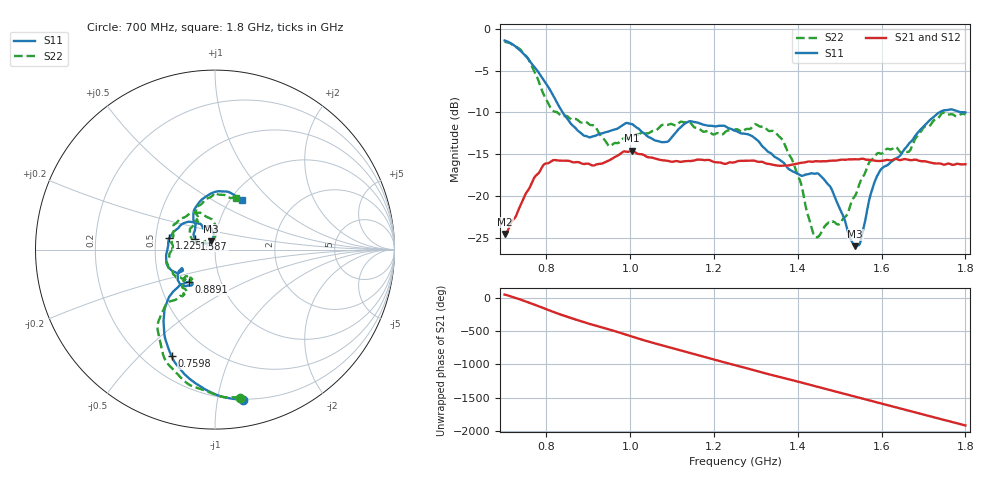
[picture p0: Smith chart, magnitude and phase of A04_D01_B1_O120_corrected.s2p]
! Created with skrf 1.9.0 (http://scikit-rf.org).
# Hz S RI R 50.0
!freq ReS11 ImS11 ReS21 ImS21 ReS12 ImS12 ReS22 ImS22
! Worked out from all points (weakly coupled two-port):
!   1601 points, 700 MHz to 1.8 GHz, reference 50 ohm
!   highest |S21| = -14.57 dB at 1.004 GHz (marker M1); lowest = -24.5 dB at 701.4 MHz (marker M2)
!   lowest |S11| = -26.0 dB at 1.537 GHz (marker M3), VSWR 1.11, Z = 47.7 + j4.39 ohm
!   |S11| at or under -10 dB: 838.6 MHz to 1.737 GHz (898.6 MHz wide, 69.8 % of centre)
!   |S22| runs from -24.9 to -1.6 dB; largest |S21 - S12| = 0.0037
!   S11 on the Smith chart (normalised r, x): 700 MHz: 0.20, -1.19; 759.8 MHz: 0.31, -0.63; 889.1 MHz: 0.71, -0.27; 1.225 GHz: 0.59, +0.08; 1.587 GHz: 0.79, +0.10; 1.8 GHz: 1.12, +0.70
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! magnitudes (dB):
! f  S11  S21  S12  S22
! 700 MHz  -1.4  -24.5  -24.3  -1.6
! 701.4 MHz  -1.4  -24.5  -24.1  -1.6
! 759.8 MHz  -3.8  -19.0  -18.8  -3.9
! 812.8 MHz  -7.7  -15.8  -15.8  -9.7
! 883.6 MHz  -12.5  -16.1  -16.0  -11.2
! 889.1 MHz  -12.7  -16.1  -16.1  -11.1
! 950.2 MHz  -12.2  -15.7  -15.7  -14.0
! 1.004 GHz  -11.4  -14.6  -14.7  -12.9
! 1.067 GHz  -13.4  -15.6  -15.6  -11.9
! 1.141 GHz  -11.1  -15.8  -15.7  -11.1
! 1.225 GHz  -11.6  -16.1  -16.1  -12.4
! 1.25 GHz  -12.2  -15.9  -15.9  -12.0
! 1.361 GHz  -15.8  -16.4  -16.4  -13.1
! 1.405 GHz  -17.5  -16.0  -16.0  -18.1
! 1.434 GHz  -17.3  -15.9  -15.9  -23.9
! 1.478 GHz  -18.9  -15.7  -15.8  -23.0
! 1.537 GHz  -26.0  -15.6  -15.6  -19.9
! 1.587 GHz  -17.8  -15.8  -15.8  -15.0
! 1.617 GHz  -16.1  -15.7  -15.7  -14.4
! 1.665 GHz  -13.8  -15.6  -15.6  -14.7
! 1.737 GHz  -10.0  -16.1  -16.1  -10.6
! 1.8 GHz  -10.0  -16.2  -16.2  -10.2
